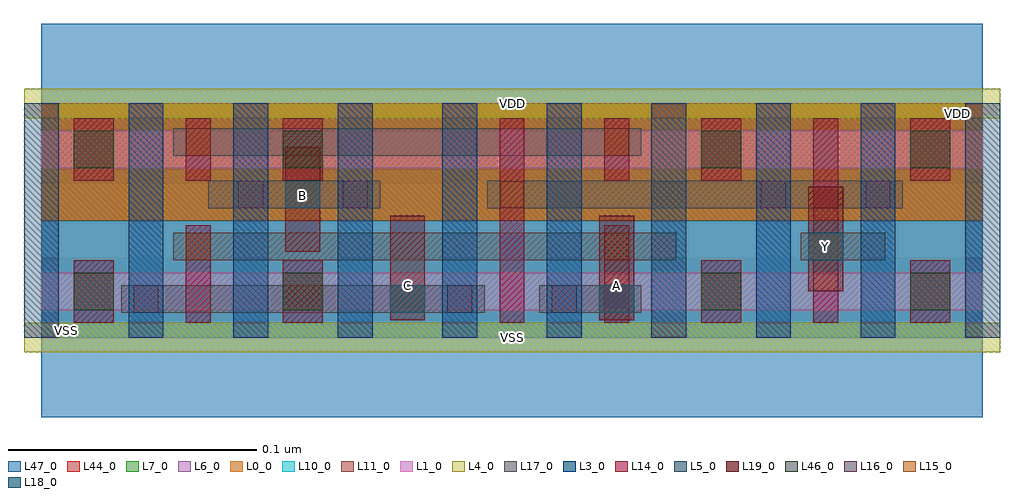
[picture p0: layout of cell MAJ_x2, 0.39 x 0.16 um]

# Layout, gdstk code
import gdstk
lib = gdstk.Library(unit=1e-6, precision=5e-10)
def R(c, l, rs):  # rectangles x0, y0, x1, y1
    for r in rs: c.add(gdstk.rectangle(r[:2], r[2:], *l))
def A(c, l, x, y, w, h, nx, ny, dx, dy):  # array of equal rectangles
    R(c, l, [(x+i*dx, y+j*dy, x+i*dx+w, y+j*dy+h) for i in range(nx) for j in range(ny)])
L0_0 = (0, 0)
L1_0 = (1, 0)
L3_0 = (3, 0)
L4_0 = (4, 0)
L5_0 = (5, 0)
L6_0 = (6, 0)
L7_0 = (7, 0)
L10_0 = (10, 0)
L11_0 = (11, 0)
L14_0 = (14, 0)
L15_0 = (15, 0)
L16_0 = (16, 0)
L17_0 = (17, 0)
L18_0 = (18, 0)
L19_0 = (19, 0)
L44_0 = (44, 0)
L46_0 = (46, 0)
L47_0 = (47, 0)

maj_x2 = lib.new_cell('MAJ_x2')
R(maj_x2, L0_0, [(0,0.047,0.378,0.094)])
R(maj_x2, L1_0, [(0,0.011,0.378,0.026), (0,0.068,0.378,0.083)])
A(maj_x2, L3_0, 0.035, 0, 0.014, 0.094, 5, 1, 0.042, 0)
R(maj_x2, L3_0, [(0.287,0,0.301,0.094), (0.329,0,0.343,0.094)])
R(maj_x2, L4_0, [(-0.007,-0.006,0.385,0.006), (-0.007,0.088,0.385,0.1)])
R(maj_x2, L5_0, [(-0.007,0,0.007,0.094), (0.245,0,0.259,0.094), (0.371,0,0.385,0.094)])
R(maj_x2, L6_0, [(0,0,0.378,0.047)])
R(maj_x2, L7_0, [(0,0.047,0.378,0.094)])
R(maj_x2, L10_0, [(0,0,0.378,0.047)])
R(maj_x2, L11_0, [(0,0.047,0.378,0.094)])
R(maj_x2, L14_0, [(0.013,0.006,0.029,0.031), (0.058,0.006,0.068,0.045), (0.097,0.006,0.113,0.031), (0.184,0.006,0.194,0.088), (0.226,0.006,0.236,0.045), (0.265,0.006,0.281,0.031), (0.31,0.006,0.32,0.088), (0.349,0.006,0.365,0.031), (0.013,0.063,0.029,0.088), (0.058,0.063,0.068,0.088), (0.097,0.063,0.113,0.088), (0.226,0.063,0.236,0.088), (0.265,0.063,0.281,0.088), (0.349,0.063,0.365,0.088)])
R(maj_x2, L15_0, [(0.058,0.031,0.068,0.042), (0.226,0.031,0.236,0.042), (0.31,0.031,0.32,0.042), (0.184,0.052,0.194,0.063), (0.058,0.073,0.068,0.084), (0.226,0.073,0.236,0.084)])
R(maj_x2, L16_0, [(0.037,0.01,0.047,0.021), (0.163,0.01,0.173,0.021), (0.205,0.01,0.215,0.021), (0.079,0.052,0.089,0.063), (0.121,0.052,0.131,0.063), (0.289,0.052,0.299,0.063), (0.331,0.052,0.341,0.063)])
R(maj_x2, L17_0, [(0.032,0.01,0.178,0.021), (0.2,0.01,0.241,0.021), (0.053,0.031,0.255,0.042), (0.305,0.031,0.339,0.042), (0.067,0.052,0.136,0.063), (0.179,0.052,0.346,0.063), (0.053,0.073,0.241,0.084)])
R(maj_x2, L18_0, [(0.14,0.01,0.154,0.021), (0.224,0.01,0.238,0.021), (0.308,0.031,0.322,0.042), (0.098,0.052,0.112,0.063)])
R(maj_x2, L19_0, [(0.14,0.007,0.154,0.049), (0.224,0.007,0.238,0.049), (0.308,0.0185,0.322,0.0605), (0.098,0.0345,0.112,0.0765)])
R(maj_x2, L44_0, [(0,0,0.378,0.094)])
R(maj_x2, L46_0, [(0.013,0.011,0.029,0.026), (0.097,0.011,0.113,0.026), (0.265,0.011,0.281,0.026), (0.349,0.011,0.365,0.026), (0.013,0.068,0.029,0.083), (0.097,0.068,0.113,0.083), (0.265,0.068,0.281,0.083), (0.349,0.068,0.365,0.083)])
R(maj_x2, L47_0, [(0,-0.032,0.378,0.032), (0,0.062,0.378,0.126)])
maj_x2.add(gdstk.Label('VDD', (0.368,0.09), layer=0, texttype=2))
maj_x2.add(gdstk.Label('VSS', (0.189,0), layer=47, texttype=2))
maj_x2.add(gdstk.Label('VDD', (0.189,0.094), layer=47, texttype=2))
maj_x2.add(gdstk.Label('VSS', (0.01,0.003), layer=54, texttype=2))
maj_x2.add(gdstk.Label('A', (0.231,0.021), layer=19, texttype=2))
maj_x2.add(gdstk.Label('B', (0.105,0.057), layer=19, texttype=2))
maj_x2.add(gdstk.Label('C', (0.147,0.021), layer=19, texttype=2))
maj_x2.add(gdstk.Label('Y', (0.315,0.0365), layer=19, texttype=2))

lib.write_gds('MAJ_x2.gds')
